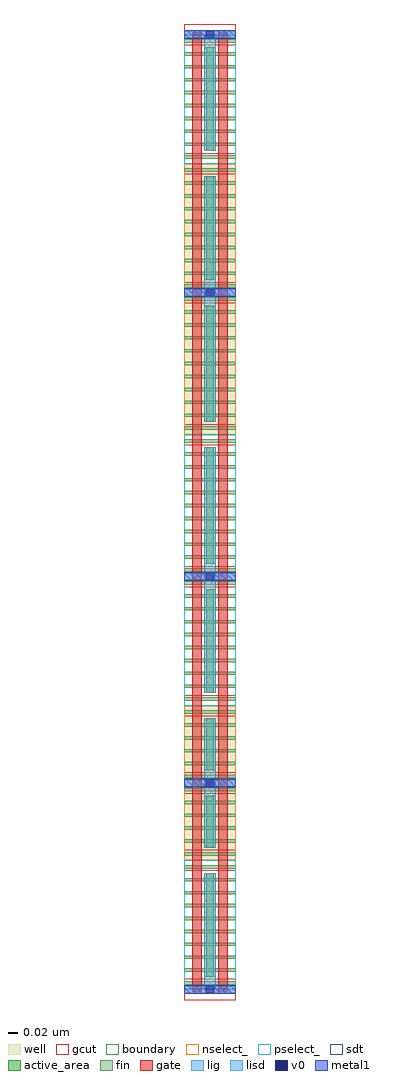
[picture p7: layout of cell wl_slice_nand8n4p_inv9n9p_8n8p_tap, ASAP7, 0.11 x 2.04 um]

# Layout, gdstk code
import gdstk
lib = gdstk.Library(unit=1e-6, precision=1e-10)
def R(c, l, rs):  # rectangles x0, y0, x1, y1
    for r in rs: c.add(gdstk.rectangle(r[:2], r[2:], *l))
def A(c, l, x, y, w, h, nx, ny, dx, dy):  # array of equal rectangles
    R(c, l, [(x+i*dx, y+j*dy, x+i*dx+w, y+j*dy+h) for i in range(nx) for j in range(ny)])
well = (1, 0)
fin = (2, 0)
gate = (7, 0)
gcut = (10, 0)
active_area = (11, 0)
nselect_ = (12, 0)
pselect_ = (13, 0)
lig = (16, 0)
lisd = (17, 0)
v0 = (18, 0)
metal1 = (19, 0)
sdt = (88, 0)
boundary = (100, 0)

wl_slice_nand8n4p_inv9n9 = lib.new_cell('wl_slice_nand8n4p_inv9n9p_8n8p_tap__nand')
R(wl_slice_nand8n4p_inv9n9, well, [(0,0.27,0.108,0.432)])
A(wl_slice_nand8n4p_inv9n9, fin, 0, 0.01, 0.108, 0.007, 1, 16, 0, 0.027)
R(wl_slice_nand8n4p_inv9n9, gate, [(0.017,-0.005,0.037,0.437), (0.071,-0.005,0.091,0.437)])
R(wl_slice_nand8n4p_inv9n9, gcut, [(0,-0.022,0.108,0.022), (0,0.248,0.108,0.292), (0,0.41,0.108,0.454)])
R(wl_slice_nand8n4p_inv9n9, active_area, [(0.046,0.027,0.062,0.243), (0.046,0.297,0.062,0.405)])
R(wl_slice_nand8n4p_inv9n9, nselect_, [(0,0.27,0.108,0.432)])
R(wl_slice_nand8n4p_inv9n9, pselect_, [(0,0,0.108,0.27)])
R(wl_slice_nand8n4p_inv9n9, lig, [(0,-0.008,0.108,0.008), (0,0.424,0.108,0.44)])
R(wl_slice_nand8n4p_inv9n9, lisd, [(0.042,0,0.066,0.243), (0.042,0.297,0.066,0.432)])
R(wl_slice_nand8n4p_inv9n9, v0, [(0.045,-0.009,0.063,0.009), (0.045,0.423,0.063,0.441)])
R(wl_slice_nand8n4p_inv9n9, metal1, [(0,-0.009,0.108,0.009), (0,0.423,0.108,0.441)])
R(wl_slice_nand8n4p_inv9n9, sdt, [(0.042,0.027,0.066,0.243), (0.042,0.297,0.066,0.405)])
R(wl_slice_nand8n4p_inv9n9, boundary, [(0,0,0.108,0.432)])
wl_slice_nand8n4p_inv9n9.add(gdstk.Label('VSS', (0.054,0), layer=19, texttype=251))
wl_slice_nand8n4p_inv9n9.add(gdstk.Label('VDD', (0.054,0.432), layer=19, texttype=251))

c_wl_slice_nand8n4p_inv9n9 = lib.new_cell('wl_slice_nand8n4p_inv9n9p_8n8p_tap__drv')
R(c_wl_slice_nand8n4p_inv9n9, well, [(0,0.297,0.108,0.594), (0,0.594,0.108,0.864)])
A(c_wl_slice_nand8n4p_inv9n9, fin, 0, 0.01, 0.108, 0.007, 1, 42, 0, 0.027)
R(c_wl_slice_nand8n4p_inv9n9, gate, [(0.017,-0.005,0.037,1.139), (0.071,-0.005,0.091,1.139)])
A(c_wl_slice_nand8n4p_inv9n9, gcut, 0, -0.022, 0.108, 0.044, 1, 3, 0, 0.297)
R(c_wl_slice_nand8n4p_inv9n9, gcut, [(0,0.842,0.108,0.886), (0,1.112,0.108,1.156)])
R(c_wl_slice_nand8n4p_inv9n9, active_area, [(0.046,0.027,0.062,0.27), (0.046,0.324,0.062,0.567), (0.046,0.621,0.062,0.837), (0.046,0.891,0.062,1.107)])
R(c_wl_slice_nand8n4p_inv9n9, nselect_, [(0,0.297,0.108,0.594), (0,0.594,0.108,0.864)])
R(c_wl_slice_nand8n4p_inv9n9, pselect_, [(0,0,0.108,0.297), (0,0.864,0.108,1.134)])
R(c_wl_slice_nand8n4p_inv9n9, lig, [(0,-0.008,0.108,0.008), (0,0.586,0.108,0.602), (0,1.126,0.108,1.142)])
R(c_wl_slice_nand8n4p_inv9n9, lisd, [(0.042,0,0.066,0.27), (0.042,0.324,0.066,0.594), (0.042,0.594,0.066,0.837), (0.042,0.891,0.066,1.134)])
R(c_wl_slice_nand8n4p_inv9n9, v0, [(0.045,-0.009,0.063,0.009), (0.045,0.585,0.063,0.603), (0.045,1.125,0.063,1.143)])
R(c_wl_slice_nand8n4p_inv9n9, metal1, [(0,-0.009,0.108,0.009), (0,0.585,0.108,0.603), (0,1.125,0.108,1.143)])
R(c_wl_slice_nand8n4p_inv9n9, sdt, [(0.042,0.027,0.066,0.27), (0.042,0.324,0.066,0.567), (0.042,0.621,0.066,0.837), (0.042,0.891,0.066,1.107)])
R(c_wl_slice_nand8n4p_inv9n9, boundary, [(0,0,0.108,0.594), (0,0.594,0.108,1.134)])
c_wl_slice_nand8n4p_inv9n9.add(gdstk.Label('VSS', (0.054,0), layer=19, texttype=251))
c_wl_slice_nand8n4p_inv9n9.add(gdstk.Label('VDD', (0.054,0.594), layer=19, texttype=251))
c_wl_slice_nand8n4p_inv9n9.add(gdstk.Label('VSS', (0.054,1.134), layer=19, texttype=251))

c_wl_slice_nand8n4p_inv9n9_ = lib.new_cell('wl_slice_nand8n4p_inv9n9p_8n8p_tap')
c_wl_slice_nand8n4p_inv9n9_.add(gdstk.Reference(wl_slice_nand8n4p_inv9n9, (0,0)))
c_wl_slice_nand8n4p_inv9n9_.add(gdstk.Reference(wl_slice_nand8n4p_inv9n9, (0,0.864), x_reflection=True))
c_wl_slice_nand8n4p_inv9n9_.add(gdstk.Reference(c_wl_slice_nand8n4p_inv9n9, (0,0.864)))

lib.write_gds('wl_slice_nand8n4p_inv9n9p_8n8p_tap.gds')
